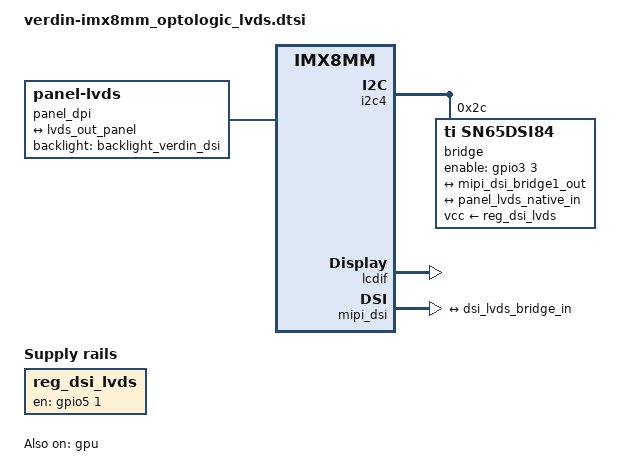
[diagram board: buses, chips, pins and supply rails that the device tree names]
// SPDX-License-Identifier: GPL-2.0-or-later OR MIT
/*
 * Common LVDS/backlight/enablement for Verdin iMX8MP Optologic panels
 */

/ {
	compatible = "toradex,verdin-imx8mm";
};

#include <dt-bindings/gpio/gpio.h>
#include <dt-bindings/interrupt-controller/irq.h>
#include <dt-bindings/pwm/pwm.h>

#include "verdin-imx8mm_backlight-dsi_overlay.dtsi"

&{/} {
	reg_dsi_lvds: regulator-dsi-lvds {
		compatible = "regulator-fixed";
		enable-active-high;
		/* Verdin CTRL_SLEEP_MOCI# (SODIMM 256) */
		gpio = <&gpio5 1 GPIO_ACTIVE_HIGH>;
		regulator-boot-on;
		regulator-name = "DSI_1_PWR_EN";
	};

	panel_dpi: panel_dpi { /*name to keep the compatibilty with colibri panel*/
		compatible = "panel-lvds";
		backlight = <&backlight_verdin_dsi>;
		data-mapping = "vesa-24";
		port {
			panel_lvds_native_in: endpoint {
				remote-endpoint = <&lvds_out_panel>;
			};
		};
	};
};

&backlight_verdin_dsi {
	pinctrl-names = "default";
	pinctrl-0 = <&pinctrl_i2s_2_d_out_dsi_1_bkl_en>;
	/* Verdin I2S_2_D_OUT (DSI_1_BKL_EN/DSI_1_BKL_EN_LVDS, SODIMM 46) */
	enable-gpios = <&gpio3 24 GPIO_ACTIVE_HIGH>;
};

&gpu {
	status = "okay";
};

/* Verdin I2C_1 */
&i2c4 {
	#address-cells = <1>;
	#size-cells = <0>;
	status = "okay";

	bridge@2c {
		compatible = "ti,sn65dsi84";
		reg = <0x2c>;
		pinctrl-names = "default";
		pinctrl-0 = <&pinctrl_gpio_10_dsi>;
		/* Verdin GPIO_9_DSI (SN65DSI84 IRQ, SODIMM 17, unused) */
		/* Verdin GPIO_10_DSI (SODIMM 21) */
		enable-gpios = <&gpio3 3 GPIO_ACTIVE_HIGH>;
		vcc-supply = <&reg_dsi_lvds>;
		status = "okay";

		ports {
			#address-cells = <1>;
			#size-cells = <0>;

			port@0 {
				reg = <0>;

				dsi_lvds_bridge_in: endpoint {
					data-lanes = <1 2 3 4>;
					remote-endpoint = <&mipi_dsi_bridge1_out>;
				};
			};

			port@2 {
				reg = <2>;

				lvds_out_panel: endpoint {
					remote-endpoint = <&panel_lvds_native_in>;
				};
			};
		};
	};
};

&lcdif {
	status = "okay";
};

&mipi_dsi {
	#address-cells = <1>;
	#size-cells = <0>;
	status = "okay";

	port@1 {
		mipi_dsi_bridge1_out: endpoint {
			attach-bridge;
			remote-endpoint = <&dsi_lvds_bridge_in>;
		};
	};
};
